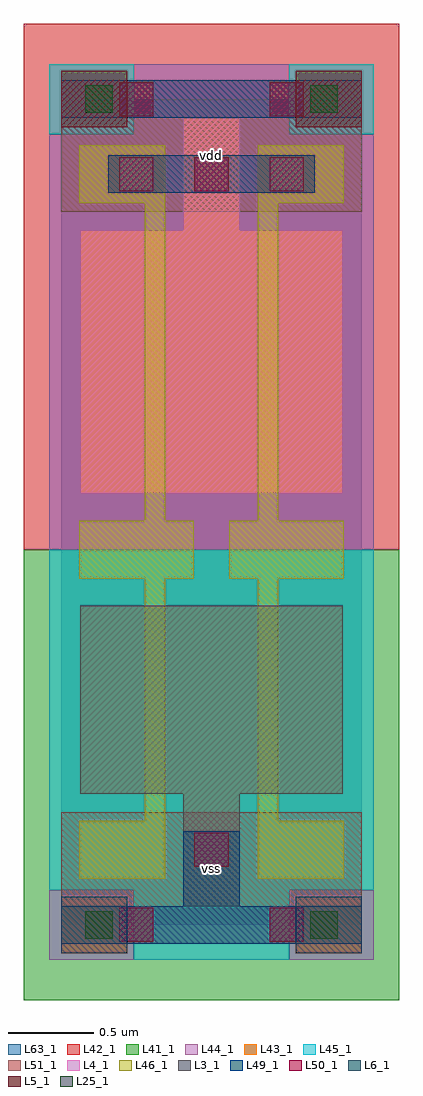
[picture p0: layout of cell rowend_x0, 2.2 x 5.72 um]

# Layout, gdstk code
import gdstk
lib = gdstk.Library(unit=1e-6, precision=1e-09)
def R(c, l, rs):  # rectangles x0, y0, x1, y1
    for r in rs: c.add(gdstk.rectangle(r[:2], r[2:], *l))
def A(c, l, x, y, w, h, nx, ny, dx, dy):  # array of equal rectangles
    R(c, l, [(x+i*dx, y+j*dy, x+i*dx+w, y+j*dy+h) for i in range(nx) for j in range(ny)])
L3_1 = (3, 1)
L4_1 = (4, 1)
L5_1 = (5, 1)
L6_1 = (6, 1)
L25_1 = (25, 1)
L41_1 = (41, 1)
L42_1 = (42, 1)
L43_1 = (43, 1)
L44_1 = (44, 1)
L45_1 = (45, 1)
L46_1 = (46, 1)
L49_1 = (49, 1)
L50_1 = (50, 1)
L51_1 = (51, 1)
L63_1 = (63, 1)

rowend_x0 = lib.new_cell('rowend_x0')
R(rowend_x0, L3_1, [(0.715,0.11,1.045,0.77), (0.11,0.77,1.65,1.87)])
R(rowend_x0, L4_1, [(0.11,2.53,1.65,4.07), (0.715,4.07,1.045,4.73)])
R(rowend_x0, L5_1, [(0,4.675,0.385,5.005), (1.375,4.675,1.76,5.005)])
R(rowend_x0, L6_1, [(0,-0.165,0.385,0.165), (1.375,-0.165,1.76,0.165)])
R(rowend_x0, L25_1, [(0.14,-0.08,0.3,0.08), (1.46,-0.08,1.62,0.08), (0.14,4.76,0.3,4.92), (1.46,4.76,1.62,4.92)])
R(rowend_x0, L41_1, [(-0.22,-0.44,1.98,2.2)])
R(rowend_x0, L42_1, [(-0.22,2.2,1.98,5.28)])
R(rowend_x0, L43_1, [(0,-0.165,0.385,0.165), (1.375,-0.165,1.76,0.165), (0.715,0.11,1.045,0.77), (0.11,0.77,1.65,1.87), (0.11,2.53,1.65,4.07), (0.715,4.07,1.045,4.73), (0,4.675,0.385,5.005), (1.375,4.675,1.76,5.005)])
R(rowend_x0, L44_1, [(-0.07,-0.205,0.425,0.205), (1.335,-0.205,1.83,0.205), (-0.07,2.2,1.83,4.635), (0.425,4.635,1.335,5.045)])
R(rowend_x0, L45_1, [(0.425,-0.205,1.335,0.205), (-0.07,0.205,1.83,2.2), (-0.07,4.635,0.425,5.045), (1.335,4.635,1.83,5.045)])
R(rowend_x0, L46_1, [(0.105,0.27,0.61,0.61), (1.15,0.27,1.655,0.61), (0.49,0.61,0.61,2.03), (1.15,0.61,1.27,2.03), (0.105,2.03,0.775,2.37), (0.985,2.03,1.655,2.37), (0.49,2.37,0.61,4.23), (1.15,2.37,1.27,4.23), (0.105,4.23,0.61,4.57), (1.15,4.23,1.655,4.57)])
R(rowend_x0, L49_1, [(0,-0.11,1.76,0.11), (0.715,0.11,1.045,0.55), (0.275,4.29,1.485,4.51), (0,4.73,1.76,4.95)])
A(rowend_x0, L50_1, 0.34, 4.3, 0.2, 0.2, 3, 1, 0.44, 0)
R(rowend_x0, L50_1, [(0.34,-0.1,0.54,0.1), (1.22,-0.1,1.42,0.1), (0.78,0.34,0.98,0.54), (0.34,4.74,0.54,4.94), (1.22,4.74,1.42,4.94)])
R(rowend_x0, L51_1, [(0,-0.11,1.76,0.66), (0,4.18,1.76,4.95)])
R(rowend_x0, L63_1, [(0,0,1.76,4.84)])
rowend_x0.add(gdstk.Label('vss', (0.88,0.33), layer=51, texttype=1))
rowend_x0.add(gdstk.Label('vdd', (0.88,4.51), layer=51, texttype=1))

lib.write_gds('rowend_x0.gds')
